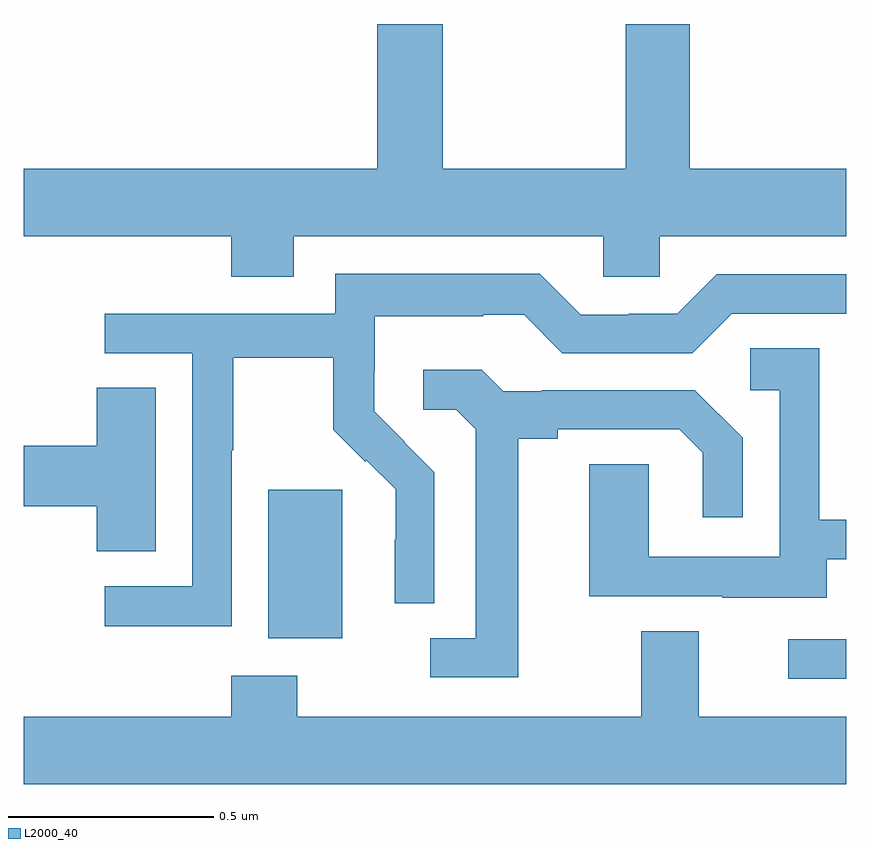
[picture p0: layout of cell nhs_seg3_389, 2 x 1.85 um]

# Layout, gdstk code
import gdstk
lib = gdstk.Library(unit=1e-6, precision=1e-09)
def R(c, l, rs):  # rectangles x0, y0, x1, y1
    for r in rs: c.add(gdstk.rectangle(r[:2], r[2:], *l))
def P(c, l, *ps):  # polygons
    for p in ps: c.add(gdstk.Polygon(p, *l))
L2000_40 = (2000, 40)

nhs_seg3_389 = lib.new_cell('nhs_seg3_389')
R(nhs_seg3_389, L2000_40, [(116.859,731.808,117,731.904), (115.595,731.906,115.774,732.267)])
P(nhs_seg3_389, L2000_40, [(115.657,732.884),(116.409,732.884),(116.409,732.786),(116.547,732.786),(116.547,732.884),(117,732.884),(117,733.048),(116.619,733.048),(116.619,733.4),(116.464,733.4),(116.464,733.048),(116.019,733.048),(116.019,733.4),(115.859,733.4),(115.859,733.048),(115,733.048),(115,732.884),(115.505,732.884),(115.505,732.785),(115.657,732.785)],
  [(115.506,732.364),(115.509,732.364),(115.509,732.588),(115.753,732.588),(115.753,732.413),(115.83,732.336),(115.833,732.339),(115.904,732.269),(115.904,732.146),(115.902,732.146),(115.902,731.992),(115.998,731.992),(115.998,732.31),(115.925,732.383),(115.926,732.384),(115.852,732.458),(115.852,732.555),(115.854,732.555),(115.854,732.689),(116.117,732.689),(116.117,732.693),(116.217,732.693),(116.31,732.6),(116.625,732.6),(116.721,732.696),(117,732.696),(117,732.792),(116.685,732.792),(116.589,732.696),(116.471,732.696),(116.471,732.693),(116.355,732.693),(116.255,732.793),(115.758,732.793),(115.758,732.696),(115.197,732.696),(115.197,732.6),(115.41,732.6),(115.41,732.033),(115.197,732.033),(115.197,731.935),(115.506,731.935)],
  [(116.953,732.099),(117,732.099),(117,732.195),(116.934,732.195),(116.934,732.611),(116.766,732.611),(116.766,732.51),(116.838,732.51),(116.838,732.105),(116.52,732.105),(116.52,732.329),(116.375,732.329),(116.375,732.009),(116.699,732.009),(116.699,732.005),(116.953,732.005)],
  [(116.203,732.392),(116.299,732.392),(116.299,732.414),(116.594,732.414),(116.651,732.357),(116.651,732.201),(116.748,732.201),(116.748,732.394),(116.632,732.51),(116.26,732.51),(116.26,732.507),(116.166,732.507),(116.114,732.559),(115.971,732.559),(115.971,732.462),(116.052,732.462),(116.099,732.415),(116.099,731.907),(115.989,731.907),(115.989,731.811),(116.203,731.811)],
  [(115.321,732.515),(115.178,732.515),(115.178,732.374),(115,732.374),(115,732.227),(115.178,732.227),(115.178,732.118),(115.321,732.118)],
  [(117,731.716),(116.641,731.716),(116.641,731.924),(116.501,731.924),(116.501,731.716),(115.665,731.716),(115.665,731.815),(115.505,731.815),(115.505,731.716),(115,731.716),(115,731.552),(117,731.552)])

lib.write_gds('nhs_seg3_389.gds')
